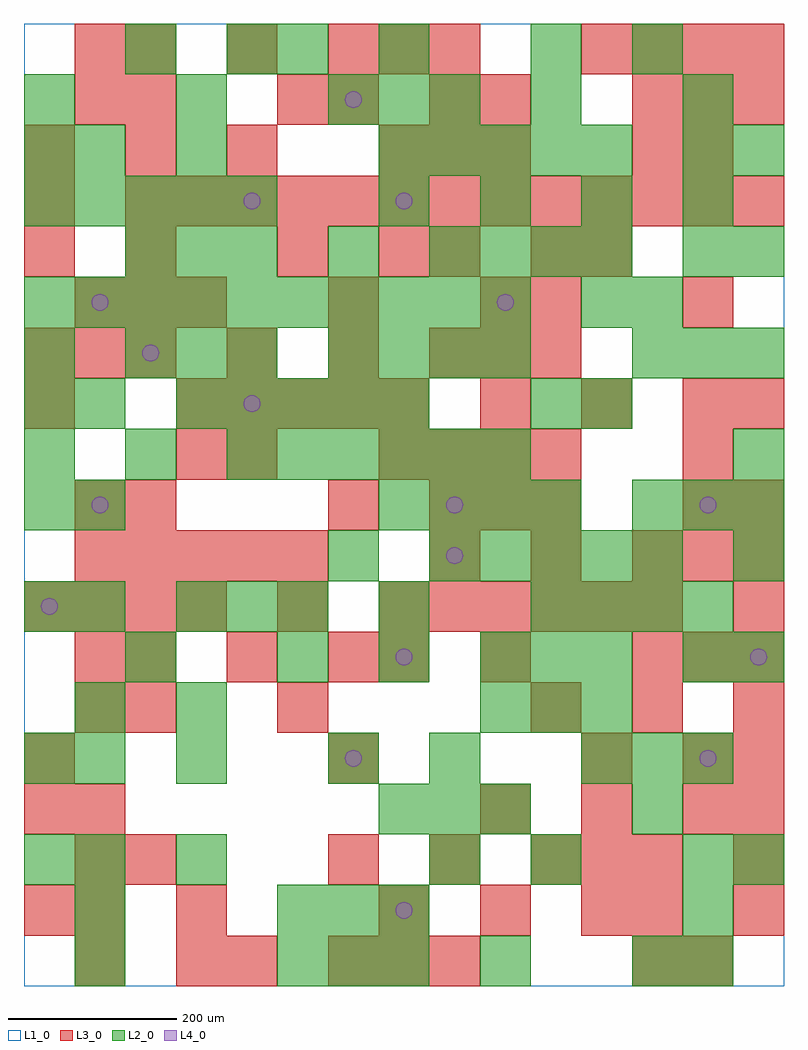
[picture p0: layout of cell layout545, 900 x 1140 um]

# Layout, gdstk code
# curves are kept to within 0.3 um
import gdstk
lib = gdstk.Library(unit=1e-6, precision=1e-09)
def R(c, l, rs):  # rectangles x0, y0, x1, y1
    for r in rs: c.add(gdstk.rectangle(r[:2], r[2:], *l))
def A(c, l, x, y, w, h, nx, ny, dx, dy):  # array of equal rectangles
    R(c, l, [(x+i*dx, y+j*dy, x+i*dx+w, y+j*dy+h) for i in range(nx) for j in range(ny)])
def P(c, l, *ps):  # polygons
    for p in ps: c.add(gdstk.Polygon(p, *l))
L1_0 = (1, 0)
L2_0 = (2, 0)
L3_0 = (3, 0)
L4_0 = (4, 0)

layout545 = lib.new_cell('layout545')
R(layout545, L1_0, [(0,0,900,1140)])
A(layout545, L2_0, 60, 0, 60, 60, 1, 3, 0, 60)
A(layout545, L2_0, 300, 0, 60, 60, 3, 2, 60, 60)
A(layout545, L2_0, 780, 0, 60, 60, 1, 3, 0, 60)
A(layout545, L2_0, 420, 180, 60, 60, 3, 1, 60, 0)
A(layout545, L2_0, 660, 240, 60, 60, 3, 1, 60, 0)
A(layout545, L2_0, 60, 300, 60, 60, 1, 4, 0, 120)
A(layout545, L2_0, 540, 300, 60, 60, 3, 1, 60, 0)
A(layout545, L2_0, 300, 360, 60, 60, 3, 1, 120, 0)
A(layout545, L2_0, 840, 360, 60, 60, 1, 3, 0, 120)
A(layout545, L2_0, 0, 420, 60, 60, 1, 3, 0, 120)
A(layout545, L2_0, 180, 420, 60, 60, 3, 1, 60, 0)
A(layout545, L2_0, 600, 420, 60, 60, 4, 1, 60, 0)
A(layout545, L2_0, 480, 480, 60, 60, 5, 1, 60, 0)
A(layout545, L2_0, 420, 540, 60, 60, 4, 1, 60, 0)
A(layout545, L2_0, 720, 540, 60, 60, 3, 2, 60, 180)
A(layout545, L2_0, 0, 600, 60, 60, 3, 1, 120, 0)
A(layout545, L2_0, 300, 600, 60, 60, 5, 1, 60, 0)
A(layout545, L2_0, 180, 660, 60, 60, 5, 1, 60, 0)
A(layout545, L2_0, 120, 720, 60, 60, 3, 2, 60, 120)
A(layout545, L2_0, 360, 720, 60, 60, 4, 1, 60, 0)
A(layout545, L2_0, 0, 780, 60, 60, 10, 1, 60, 0)
A(layout545, L2_0, 480, 840, 60, 60, 4, 1, 60, 0)
A(layout545, L2_0, 0, 900, 60, 60, 5, 1, 60, 0)
A(layout545, L2_0, 420, 900, 60, 60, 4, 1, 120, 0)
A(layout545, L2_0, 420, 960, 60, 60, 5, 1, 60, 0)
A(layout545, L2_0, 0, 1020, 60, 60, 3, 1, 180, 0)
R(layout545, L2_0, [(540,0,600,60), (720,0,780,60), (0,120,60,180), (180,120,240,180), (480,120,540,180), (600,120,660,180), (840,120,900,180), (720,180,780,240), (0,240,60,300), (60,240,120,300), (180,240,240,300), (360,240,420,300), (480,240,540,300), (180,300,240,360), (120,360,180,420), (600,360,660,420), (660,360,720,420), (780,360,840,420), (420,420,480,480), (360,480,420,540), (600,660,660,720), (660,660,720,720), (0,720,60,780), (660,780,720,840), (720,780,780,840), (360,840,420,900), (780,840,840,900), (840,840,900,900), (0,960,60,1020), (60,960,120,1020), (180,960,240,1020), (780,960,840,1020), (840,960,900,1020), (420,1020,480,1080), (480,1020,540,1080), (600,1020,660,1080), (780,1020,840,1080), (120,1080,180,1140), (240,1080,300,1140), (300,1080,360,1140), (420,1080,480,1140), (600,1080,660,1140), (720,1080,780,1140)])
A(layout545, L3_0, 60, 0, 60, 60, 1, 4, 0, 60)
A(layout545, L3_0, 360, 0, 60, 60, 3, 1, 60, 0)
A(layout545, L3_0, 720, 0, 60, 60, 1, 3, 0, 60)
A(layout545, L3_0, 780, 0, 60, 60, 1, 3, 0, 240)
A(layout545, L3_0, 420, 60, 60, 60, 3, 1, 120, 0)
A(layout545, L3_0, 840, 60, 60, 60, 1, 4, 0, 60)
A(layout545, L3_0, 360, 120, 60, 60, 3, 1, 120, 0)
A(layout545, L3_0, 540, 180, 60, 60, 3, 2, 120, 480)
A(layout545, L3_0, 600, 300, 60, 60, 3, 1, 120, 0)
A(layout545, L3_0, 120, 360, 60, 60, 3, 2, 120, 720)
A(layout545, L3_0, 720, 360, 60, 60, 3, 2, 60, 660)
A(layout545, L3_0, 0, 420, 60, 60, 4, 1, 60, 0)
A(layout545, L3_0, 420, 420, 60, 60, 6, 1, 60, 0)
A(layout545, L3_0, 840, 420, 60, 60, 1, 3, 0, 60)
A(layout545, L3_0, 60, 480, 60, 60, 5, 1, 60, 0)
A(layout545, L3_0, 480, 480, 60, 60, 3, 1, 120, 0)
A(layout545, L3_0, 360, 540, 60, 60, 1, 3, 0, 240)
A(layout545, L3_0, 480, 540, 60, 60, 3, 1, 60, 0)
A(layout545, L3_0, 420, 600, 60, 60, 4, 1, 60, 0)
A(layout545, L3_0, 780, 600, 60, 60, 1, 3, 0, 180)
A(layout545, L3_0, 180, 660, 60, 60, 5, 1, 60, 0)
A(layout545, L3_0, 0, 720, 60, 60, 3, 1, 60, 0)
A(layout545, L3_0, 240, 720, 60, 60, 3, 1, 120, 0)
A(layout545, L3_0, 600, 720, 60, 60, 1, 3, 0, 60)
A(layout545, L3_0, 60, 780, 60, 60, 3, 1, 60, 0)
A(layout545, L3_0, 120, 900, 60, 60, 13, 1, 60, 0)
A(layout545, L3_0, 0, 960, 60, 60, 3, 1, 120, 0)
A(layout545, L3_0, 420, 960, 60, 60, 3, 1, 60, 0)
A(layout545, L3_0, 660, 1080, 60, 60, 4, 1, 60, 0)
R(layout545, L3_0, [(180,0,240,60), (240,0,300,60), (0,60,60,120), (180,60,240,120), (120,120,180,180), (660,120,720,180), (0,180,60,240), (0,240,60,300), (360,240,420,300), (660,240,720,300), (60,300,120,360), (120,300,180,360), (300,300,360,360), (60,360,120,420), (420,360,480,420), (540,360,600,420), (300,420,360,480), (60,540,120,600), (120,540,180,600), (780,540,840,600), (180,600,240,660), (240,600,300,660), (0,660,60,720), (840,660,900,720), (540,720,600,780), (540,780,600,840), (0,840,60,900), (120,840,180,900), (300,840,360,900), (420,840,480,900), (480,840,540,900), (660,840,720,900), (0,900,60,960), (720,960,780,1020), (60,1020,120,1080), (120,1020,180,1080), (300,1020,360,1080), (480,1020,540,1080), (540,1020,600,1080), (60,1080,120,1140), (420,1080,480,1140), (480,1080,540,1140)])
P(layout545, L4_0, [(40,450),(39.239,453.827),(37.071,457.071),(33.827,459.239),(30,460),(26.173,459.239),(22.929,457.071),(20.761,453.827),(20,450),(20.761,446.173),(22.929,442.929),(26.173,440.761),(30,440),(33.827,440.761),(37.071,442.929),(39.239,446.173)],
  [(100,570),(99.239,573.827),(97.071,577.071),(93.827,579.239),(90,580),(86.173,579.239),(82.929,577.071),(80.761,573.827),(80,570),(80.761,566.173),(82.929,562.929),(86.173,560.761),(90,560),(93.827,560.761),(97.071,562.929),(99.239,566.173)],
  [(100,810),(99.239,813.827),(97.071,817.071),(93.827,819.239),(90,820),(86.173,819.239),(82.929,817.071),(80.761,813.827),(80,810),(80.761,806.173),(82.929,802.929),(86.173,800.761),(90,800),(93.827,800.761),(97.071,802.929),(99.239,806.173)],
  [(160,750),(159.239,753.827),(157.071,757.071),(153.827,759.239),(150,760),(146.173,759.239),(142.929,757.071),(140.761,753.827),(140,750),(140.761,746.173),(142.929,742.929),(146.173,740.761),(150,740),(153.827,740.761),(157.071,742.929),(159.239,746.173)],
  [(280,690),(279.239,693.827),(277.071,697.071),(273.827,699.239),(270,700),(266.173,699.239),(262.929,697.071),(260.761,693.827),(260,690),(260.761,686.173),(262.929,682.929),(266.173,680.761),(270,680),(273.827,680.761),(277.071,682.929),(279.239,686.173)],
  [(280,930),(279.239,933.827),(277.071,937.071),(273.827,939.239),(270,940),(266.173,939.239),(262.929,937.071),(260.761,933.827),(260,930),(260.761,926.173),(262.929,922.929),(266.173,920.761),(270,920),(273.827,920.761),(277.071,922.929),(279.239,926.173)],
  [(400,270),(399.239,273.827),(397.071,277.071),(393.827,279.239),(390,280),(386.173,279.239),(382.929,277.071),(380.761,273.827),(380,270),(380.761,266.173),(382.929,262.929),(386.173,260.761),(390,260),(393.827,260.761),(397.071,262.929),(399.239,266.173)],
  [(400,1050),(399.239,1053.827),(397.071,1057.071),(393.827,1059.239),(390,1060),(386.173,1059.239),(382.929,1057.071),(380.761,1053.827),(380,1050),(380.761,1046.173),(382.929,1042.929),(386.173,1040.761),(390,1040),(393.827,1040.761),(397.071,1042.929),(399.239,1046.173)],
  [(460,90),(459.239,93.827),(457.071,97.071),(453.827,99.239),(450,100),(446.173,99.239),(442.929,97.071),(440.761,93.827),(440,90),(440.761,86.173),(442.929,82.929),(446.173,80.761),(450,80),(453.827,80.761),(457.071,82.929),(459.239,86.173)],
  [(460,390),(459.239,393.827),(457.071,397.071),(453.827,399.239),(450,400),(446.173,399.239),(442.929,397.071),(440.761,393.827),(440,390),(440.761,386.173),(442.929,382.929),(446.173,380.761),(450,380),(453.827,380.761),(457.071,382.929),(459.239,386.173)],
  [(460,930),(459.239,933.827),(457.071,937.071),(453.827,939.239),(450,940),(446.173,939.239),(442.929,937.071),(440.761,933.827),(440,930),(440.761,926.173),(442.929,922.929),(446.173,920.761),(450,920),(453.827,920.761),(457.071,922.929),(459.239,926.173)],
  [(520,510),(519.239,513.827),(517.071,517.071),(513.827,519.239),(510,520),(506.173,519.239),(502.929,517.071),(500.761,513.827),(500,510),(500.761,506.173),(502.929,502.929),(506.173,500.761),(510,500),(513.827,500.761),(517.071,502.929),(519.239,506.173)],
  [(520,570),(519.239,573.827),(517.071,577.071),(513.827,579.239),(510,580),(506.173,579.239),(502.929,577.071),(500.761,573.827),(500,570),(500.761,566.173),(502.929,562.929),(506.173,560.761),(510,560),(513.827,560.761),(517.071,562.929),(519.239,566.173)],
  [(580,810),(579.239,813.827),(577.071,817.071),(573.827,819.239),(570,820),(566.173,819.239),(562.929,817.071),(560.761,813.827),(560,810),(560.761,806.173),(562.929,802.929),(566.173,800.761),(570,800),(573.827,800.761),(577.071,802.929),(579.239,806.173)],
  [(820,270),(819.239,273.827),(817.071,277.071),(813.827,279.239),(810,280),(806.173,279.239),(802.929,277.071),(800.761,273.827),(800,270),(800.761,266.173),(802.929,262.929),(806.173,260.761),(810,260),(813.827,260.761),(817.071,262.929),(819.239,266.173)],
  [(820,570),(819.239,573.827),(817.071,577.071),(813.827,579.239),(810,580),(806.173,579.239),(802.929,577.071),(800.761,573.827),(800,570),(800.761,566.173),(802.929,562.929),(806.173,560.761),(810,560),(813.827,560.761),(817.071,562.929),(819.239,566.173)],
  [(880,390),(879.239,393.827),(877.071,397.071),(873.827,399.239),(870,400),(866.173,399.239),(862.929,397.071),(860.761,393.827),(860,390),(860.761,386.173),(862.929,382.929),(866.173,380.761),(870,380),(873.827,380.761),(877.071,382.929),(879.239,386.173)])

lib.write_gds('layout545.gds')
